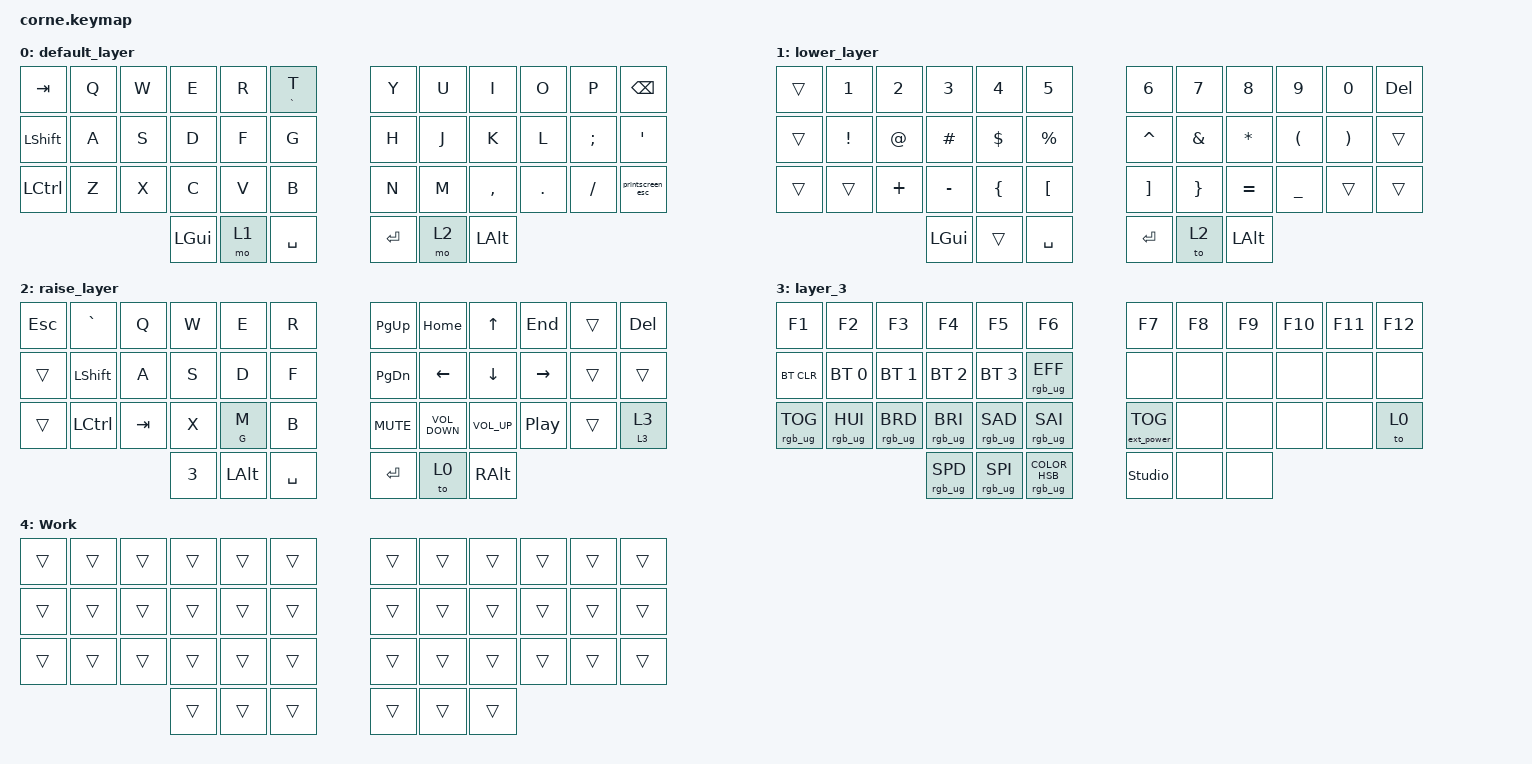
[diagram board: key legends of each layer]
/*
 * Copyright (c) 2020 The ZMK Contributors
 *
 * SPDX-License-Identifier: MIT
 */

#include <behaviors.dtsi>
#include <dt-bindings/zmk/bt.h>
#include <dt-bindings/zmk/ext_power.h>
#include <dt-bindings/zmk/keys.h>
#include <dt-bindings/zmk/rgb.h>

&led_strip { chain-length = <27>; };

&mt { flavor = "tap-preferred"; };

/ {
    combos {
        compatible = "zmk,combos";

        test {
            bindings = <&kp LEFT_PARENTHESIS>;
            key-positions = <5 4>;
        };

        skobki {
            bindings = <&kp RIGHT_PARENTHESIS>;
            key-positions = <6 7>;
        };

        kv_skobka_left {
            bindings = <&kp LEFT_BRACKET>;
            key-positions = <16 17>;
        };

        kv_skbk_right {
            bindings = <&kp RIGHT_BRACKET>;
            key-positions = <18 19>;
        };

        fig_left {
            bindings = <&kp LEFT_BRACE>;
            key-positions = <29 28>;
        };

        fig_rigjt {
            bindings = <&kp RIGHT_BRACE>;
            key-positions = <30 31>;
        };

        back_slash {
            bindings = <&kp NON_US_BACKSLASH>;
            key-positions = <28 27>;
        };

        fslash {
            bindings = <&kp SLASH>;
            key-positions = <32 31>;
        };
    };

    macros {
        Connect_witsml: Connect_witsml {
            compatible = "zmk,behavior-macro";
            #binding-cells = <0>;
            bindings = <&kp LS(L) &kp J &kp LESS_THAN &kp H &kp S &kp Q &kp SPACE &kp L &kp T &kp Y &kp M &kp LS(SLASH) &kp ENTER &kp ENTER &kp LS(C) &kp R &kp D &kp F &kp SEMI &kp B &kp Y &kp F &kp SPACE &kp G &kp J &kp L &kp R &kp K &kp GREATER_THAN &kp X &kp T &kp Y &kp F &kp COMMA &kp SPACE &kp G &kp T &kp H &kp T &kp L &kp F &kp X &kp F &kp SPACE &kp Y &kp F &kp C &kp N &kp H &kp J &kp T &kp Y &kp F &kp SPACE &kp Y &kp F &kp SPACE &kp LS(G) &kp LS(R) &kp SPACE &kp LA(LEFT_SHIFT) &kp LS(M) &kp LS(W) &kp LS(D) &kp LA(LEFT_SHIFT)>;
            label = "CONNECT_WITSML";
            tap-ms = <20>;
        };
    };

    behaviors {
        printscreen_esc: printscreen_esc {
            compatible = "zmk,behavior-tap-dance";
            label = "PRINTSCREEN_ESC";
            #binding-cells = <0>;
            bindings = <&mt ESCAPE LA(LEFT_SHIFT)>, <&kp LG(LS(S))>;
        };

        hldntap_lyr: hldntap_lyr {
            compatible = "zmk,behavior-hold-tap";
            label = "HLDNTAP_LYR";
            bindings = <&mo>, <&to>;

            #binding-cells = <2>;
            tapping-term-ms = <200>;
            flavor = "tap-preferred";
        };

        Mod_morf: Mod_morf {
            compatible = "zmk,behavior-mod-morph";
            label = "MOD_MORF";
            bindings = <&kp BACKSPACE>, <&Connect_witsml>;

            #binding-cells = <0>;
            mods = <(MOD_LCTL)>;
        };
    };

    keymap {
        compatible = "zmk,keymap";

        default_layer {
            // -----------------------------------------------------------------------------------------
            // |  TAB |  Q  |  W  |  E  |  R  |  T  |   |  Y  |  U   |  I  |  O  |  P  | BSPC |
            // | CTRL |  A  |  S  |  D  |  F  |  G  |   |  H  |  J   |  K  |  L  |  ;  |  '   |
            // | SHFT |  Z  |  X  |  C  |  V  |  B  |   |  N  |  M   |  ,  |  .  |  /  | ESC  |
            //                    | GUI | LWR | SPC |   | ENT | RSE  | ALT |

            bindings = <
&kp TAB         &kp Q  &kp W  &kp E     &kp R  &mt GRAVE T    &kp Y    &kp U  &kp I         &kp O    &kp P     &kp BACKSPACE
&kp LEFT_SHIFT  &kp A  &kp S  &kp D     &kp F  &kp G          &kp H    &kp J  &kp K         &kp L    &kp SEMI  &kp SQT
&kp LCTRL       &kp Z  &kp X  &kp C     &kp V  &kp B          &kp N    &kp M  &kp COMMA     &kp DOT  &kp FSLH  &printscreen_esc
                              &kp LGUI  &mo 1  &kp SPACE      &kp RET  &mo 2  &kp LEFT_ALT
            >;
        };

        lower_layer {
            // -----------------------------------------------------------------------------------------
            // |  TAB |  1  |  2  |  3  |  4  |  5  |   |  6  |  7  |  8  |  9  |  0  | BSPC |
            // | BTCLR| BT1 | BT2 | BT3 | BT4 | BT5 |   | LFT | DWN |  UP | RGT |     |      |
            // | SHFT |     |     |     |     |     |   |     |     |     |     |     |      |
            //                    | GUI |     | SPC |   | ENT |     | ALT |

            bindings = <
&trans  &kp N1           &kp N2       &kp N3     &kp N4          &kp N5              &kp N6             &kp N7           &kp N8        &kp N9                &kp N0                 &kp DELETE
&trans  &kp EXCLAMATION  &kp AT_SIGN  &kp HASH   &kp DOLLAR      &kp PERCENT         &kp CARET          &kp AMPS         &kp ASTERISK  &kp LEFT_PARENTHESIS  &kp RIGHT_PARENTHESIS  &trans
&trans  &trans           &kp PLUS     &kp MINUS  &kp LEFT_BRACE  &kp LEFT_BRACKET    &kp RIGHT_BRACKET  &kp RIGHT_BRACE  &kp EQUAL     &kp UNDERSCORE        &trans                 &trans
                                      &kp LGUI   &trans          &kp SPACE           &kp RET            &to 2            &kp LEFT_ALT
            >;
        };

        raise_layer {
            // -----------------------------------------------------------------------------------------
            // |  TAB |  !  |  @  |  #  |  $  |  %  |   |  ^  |  &  |  *  |  (  |  )  | BSPC |
            // | CTRL |     |     |     |     |     |   |  -  |  =  |  [  |  ]  |  \  |  `   |
            // | SHFT |     |     |     |     |     |   |  _  |  +  |  {  |  }  | "|" |  ~   |
            //                    | GUI |     | SPC |   | ENT |     | ALT |

            bindings = <
&kp ESCAPE  &kp GRAVE       &kp Q    &kp W         &kp E     &kp R        &kp PAGE_UP    &kp HOME           &kp UP           &kp END           &trans  &kp DEL
&trans      &kp LEFT_SHIFT  &kp A    &kp S         &kp D     &kp F        &kp PAGE_DOWN  &kp LEFT           &kp DOWN         &kp RIGHT         &trans  &trans
&trans      &kp LCTRL       &kp TAB  &kp X         &mt G M   &kp B        &kp C_MUTE     &kp C_VOLUME_DOWN  &kp C_VOLUME_UP  &kp C_PLAY_PAUSE  &trans  &hldntap_lyr 3 3
                                     &kp NUMBER_3  &kp LALT  &kp SPACE    &kp RET        &to 0              &kp RALT
            >;
        };

        layer_3 {
            bindings = <
&kp F1           &kp F2           &kp F3           &kp F4           &kp F5           &kp F6                               &kp F7             &kp F8  &kp F9  &kp F10  &kp F11  &kp F12
&bt BT_CLR       &bt BT_SEL 0     &bt BT_SEL 1     &bt BT_SEL 2     &bt BT_SEL 3     &rgb_ug RGB_EFF                      &none              &none   &none   &none    &none    &none
&rgb_ug RGB_TOG  &rgb_ug RGB_HUI  &rgb_ug RGB_BRD  &rgb_ug RGB_BRI  &rgb_ug RGB_SAD  &rgb_ug RGB_SAI                      &ext_power EP_TOG  &none   &none   &none    &none    &to 0
                                                   &rgb_ug RGB_SPD  &rgb_ug RGB_SPI  &rgb_ug RGB_COLOR_HSB(186,100,72)    &studio_unlock     &none   &none
            >;
        };

        Work {
            bindings = <
&trans  &trans  &trans  &trans  &trans  &trans    &trans  &trans  &trans  &trans  &trans  &trans
&trans  &trans  &trans  &trans  &trans  &trans    &trans  &trans  &trans  &trans  &trans  &trans
&trans  &trans  &trans  &trans  &trans  &trans    &trans  &trans  &trans  &trans  &trans  &trans
                        &trans  &trans  &trans    &trans  &trans  &trans
            >;
        };
    };
};
